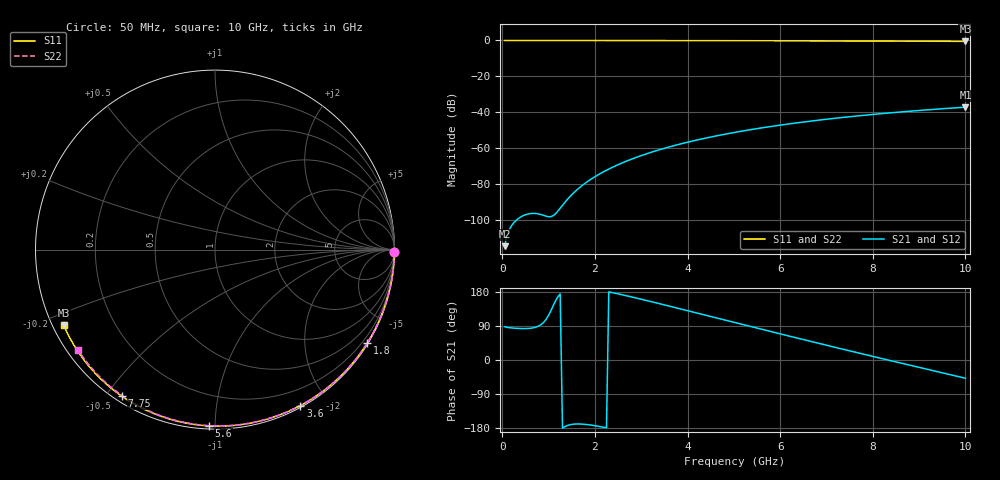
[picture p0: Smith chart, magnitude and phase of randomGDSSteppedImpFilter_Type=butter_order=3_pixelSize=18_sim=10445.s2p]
! freq	dB(S11)	phase(S11)	dB(S12)	phase(S12)
!  dB(S21)	phase(S21)	dB(S22)	phase(S22)
!S-par simulation data
#  GHz  S  DB  R 50
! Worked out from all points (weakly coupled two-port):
!   200 points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, 50 MHz to 10 GHz, reference 50 ohm
!   highest |S21| = -37.19 dB at 10 GHz (marker M1); lowest = -114.7 dB at 50 MHz (marker M2)
!   lowest |S11| = -0.5 dB at 10 GHz (marker M3), VSWR 33.60, Z = 1.57 - j11.8 ohm
!   |S11| at or under -10 dB: nowhere
!   |S22| runs from -0.5 to 0.0 dB; largest |S21 - S12| = 0
!   S11 on the Smith chart (normalised r, x): 50 MHz: open; 1.8 GHz: 0.03, -3.55; 3.6 GHz: 0.02, -1.69; 5.6 GHz: 0.02, -0.97; 7.75 GHz: 0.02, -0.55; 10 GHz: 0.03, -0.24
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0.05  -0.00 -0.9  -114.67 87.9  -114.67 87.9  -0.00 -0.8
0.45  -0.01 -8.0  -97.66 82.9  -97.66 82.9  -0.01 -7.5
0.9  -0.02 -15.9  -97.56 100.3  -97.56 100.3  -0.02 -14.9
1.3  -0.03 -22.9  -91.84 -179.9  -91.84 -179.9  -0.03 -21.5
1.75  -0.04 -30.6  -80.33 -169.4  -80.33 -169.4  -0.04 -28.8
1.8  -0.04 -31.5  -79.37 -170.0  -79.37 -170.0  -0.04 -29.6
1.95  -0.04 -34.0  -76.74 -172.4  -76.74 -172.4  -0.04 -32.0
2.1  -0.05 -36.6  -74.41 -175.4  -74.41 -175.4  -0.04 -34.4
2.3  -0.05 -39.9  -71.66 179.8  -71.66 179.8  -0.05 -37.6
2.5  -0.06 -43.3  -69.24 174.6  -69.24 174.6  -0.05 -40.8
2.9  -0.06 -49.9  -65.09 163.3  -65.09 163.3  -0.06 -47.0
3.4  -0.08 -58.1  -60.85 148.5  -60.85 148.5  -0.07 -54.7
3.6  -0.08 -61.3  -59.37 142.4  -59.37 142.4  -0.08 -57.7
4.3  -0.10 -72.3  -54.93 121.0  -54.93 121.0  -0.10 -68.2
5.05  -0.13 -83.8  -51.10 98.0  -51.10 98.0  -0.12 -79.0
5.6  -0.15 -91.9  -48.73 81.1  -48.73 81.1  -0.14 -86.7
6.15  -0.18 -99.9  -46.66 64.5  -46.66 64.5  -0.17 -94.2
6.7  -0.21 -107.7  -44.82 47.9  -44.82 47.9  -0.20 -101.6
7.75  -0.28 -122.4  -41.86 16.8  -41.86 16.8  -0.27 -115.4
8.35  -0.34 -130.6  -40.41 -0.7  -40.41 -0.7  -0.32 -123.0
9.2  -0.42 -142.3  -38.63 -25.2  -38.63 -25.2  -0.40 -133.8
10  -0.52 -153.3  -37.19 -48.1  -37.19 -48.1  -0.49 -143.9
